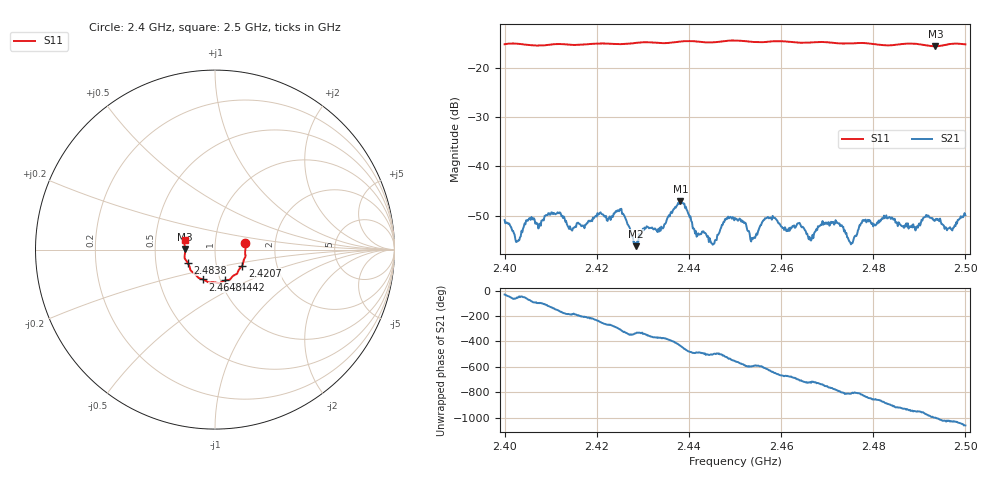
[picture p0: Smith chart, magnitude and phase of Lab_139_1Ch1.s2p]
# Hz S RI R 50
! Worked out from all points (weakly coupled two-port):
!   601 points, 2.4 GHz to 2.5 GHz, reference 50 ohm
!   highest |S21| = -47.11 dB at 2.4382 GHz (marker M1); lowest = -56.2 dB at 2.4285 GHz (marker M2)
!   lowest |S11| = -15.6 dB at 2.4935 GHz (marker M3), VSWR 1.40, Z = 35.8 + j0.136 ohm
!   |S11| at or under -10 dB: start of sweep to end of sweep
!   S12 and S22 are empty: the file has one direction only
!   S11 on the Smith chart (normalised r, x): 2.4 GHz: 1.40, +0.11; 2.4207 GHz: 1.33, -0.24; 2.4442 GHz: 1.05, -0.37; 2.4648 GHz: 0.83, -0.28; 2.4838 GHz: 0.73, -0.11; 2.5 GHz: 0.71, +0.08
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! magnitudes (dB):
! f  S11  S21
! 2.4 GHz  -15.2  -50.9
! 2.4028 GHz  -15.1  -55.2
! 2.4098 GHz  -15.3  -49.8
! 2.4167 GHz  -15.3  -52.2
! 2.4207 GHz  -15.1  -49.4
! 2.4253 GHz  -15.2  -48.6
! 2.4285 GHz  -14.9  -56.2
! 2.4333 GHz  -15.0  -52.7
! 2.4382 GHz  -14.7  -47.1
! 2.4442 GHz  -14.9  -54.2
! 2.45 GHz  -14.5  -50.5
! 2.4538 GHz  -14.8  -54.8
! 2.457 GHz  -14.7  -50.4
! 2.4648 GHz  -14.9  -52.4
! 2.4667 GHz  -14.9  -54.7
! 2.4722 GHz  -15.0  -51.4
! 2.4752 GHz  -15.1  -55.8
! 2.4778 GHz  -15.0  -50.9
! 2.4833 GHz  -15.5  -50.4
! 2.4838 GHz  -15.4  -50.7
! 2.4935 GHz  -15.6  -50.8
! 2.5 GHz  -15.2  -49.9
